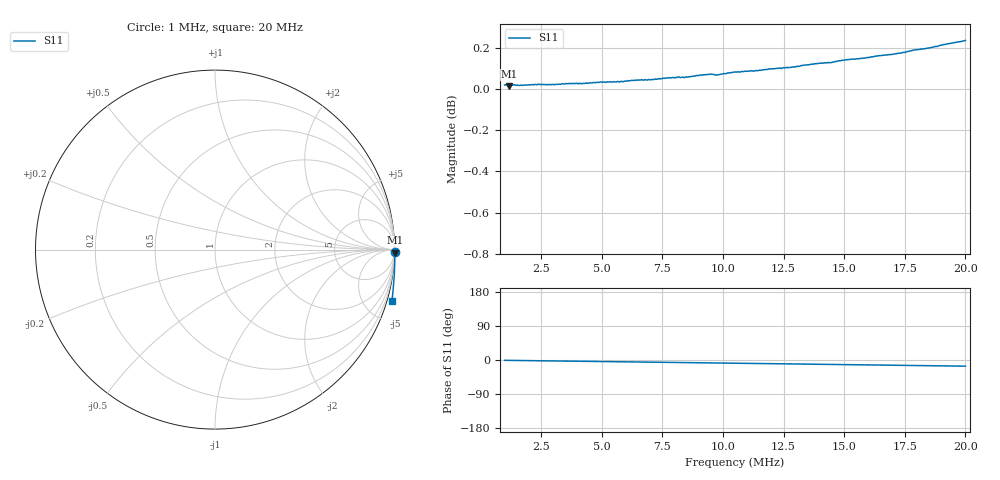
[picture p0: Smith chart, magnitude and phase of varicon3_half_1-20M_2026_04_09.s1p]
# HZ S RI R 50
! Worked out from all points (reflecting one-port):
!   401 points, 1 MHz to 20 MHz, reference 50 ohm
!   lowest |S11| = 0.0 dB at 1.19 MHz (marker M1)
!   phase of S11 starts at -1 deg and turns -15 deg over the sweep
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1000000  1.002 -0.0151
1190000  1.001 -0.0178
1427500  1.002 -0.0207
1950000  1.002 -0.0283
2710000  1.002 -0.0388
3375000  1.002 -0.0483
5037500  1.001 -0.0714
5750000  1.001 -0.0816
6320000  1.001 -0.0896
8125000  0.9999 -0.1152
8505000  0.9997 -0.1207
9407500  0.9993 -0.1334
9787500  0.9985 -0.1384
1.05e7  0.9986 -0.149
1.2875e7  0.9958 -0.1827
1.373e7  0.9951 -0.1953
1.449e7  0.9938 -0.2067
1.48225e7  0.9937 -0.2115
1.525e7  0.9932 -0.2177
1.582e7  0.9921 -0.226
1.62e7  0.9916 -0.2315
1.6865e7  0.9907 -0.2409
1.7625e7  0.9897 -0.2521
1.791e7  0.9895 -0.2561
1.83375e7  0.9887 -0.2624
1.905e7  0.9879 -0.2734
1.9905e7  0.9866 -0.2863
2e7  0.9865 -0.2878
